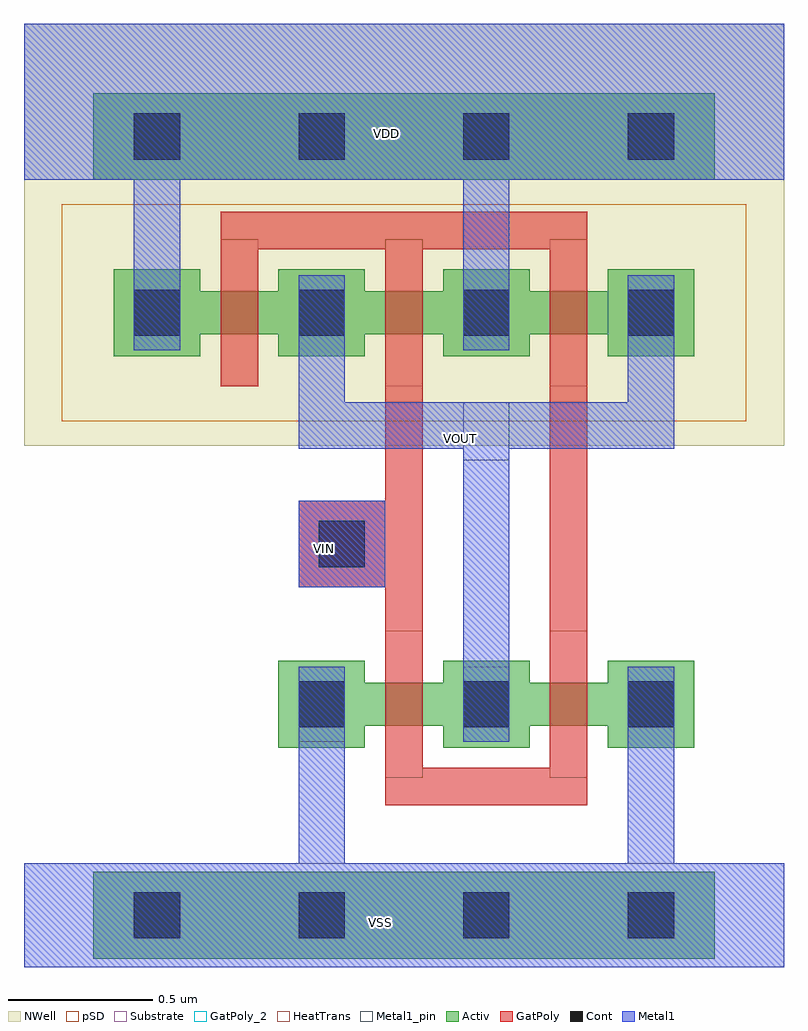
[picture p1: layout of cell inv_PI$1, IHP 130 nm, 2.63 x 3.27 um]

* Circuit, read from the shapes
.subckt inv_PI$1 VDD VIN VOUT VSS
XM1 VOUT VIN VSS VSS sg13_lv_nmos w=0.15u l=0.13u m=2
XM2 VOUT VIN VDD VDD sg13_lv_pmos w=0.15u l=0.13u m=3
.ends

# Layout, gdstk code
import gdstk
lib = gdstk.Library(unit=1e-6, precision=5e-09)
def R(c, l, rs):  # rectangles x0, y0, x1, y1
    for r in rs: c.add(gdstk.rectangle(r[:2], r[2:], *l))
def A(c, l, x, y, w, h, nx, ny, dx, dy):  # array of equal rectangles
    R(c, l, [(x+i*dx, y+j*dy, x+i*dx+w, y+j*dy+h) for i in range(nx) for j in range(ny)])
def P(c, l, *ps):  # polygons
    for p in ps: c.add(gdstk.Polygon(p, *l))
Activ = (1, 0)
GatPoly = (5, 0)
GatPoly_2 = (5, 2)
Cont = (6, 0)
Metal1 = (8, 0)
Metal1_pin = (8, 2)
pSD = (14, 0)
NWell = (31, 0)
Substrate = (40, 0)
HeatTrans = (51, 0)

nmos_8_14 = lib.new_cell('nmos$8$14')
A(nmos_8_14, Activ, 0, 0, 0.3, 0.3, 3, 1, 0.57, 0)
R(nmos_8_14, Activ, [(0,0.075,1.44,0.225)])
R(nmos_8_14, GatPoly, [(0.37,-0.105,0.5,0.405), (0.94,-0.105,1.07,0.405)])
R(nmos_8_14, GatPoly_2, [(0.37,-0.105,0.5,0.405)])
A(nmos_8_14, Cont, 0.07, 0.07, 0.16, 0.16, 3, 1, 0.57, 0)
A(nmos_8_14, Metal1, 0.07, 0.02, 0.16, 0.26, 3, 1, 0.57, 0)
R(nmos_8_14, Metal1_pin, [(0.07,0.02,0.23,0.28), (0.64,0.02,0.8,0.28)])
R(nmos_8_14, HeatTrans, [(0.37,-0.105,0.5,0.405), (0.94,-0.105,1.07,0.405)])
nmos_8_14.add(gdstk.Label('nmos', (0.435,0.15), layer=63, texttype=0))
nmos_8_14.add(gdstk.Label('nmos', (0.435,0.15), layer=51, texttype=0))
nmos_8_14.add(gdstk.Label('nmos', (1.005,0.15), layer=51, texttype=0))

pmos_1_2_3_1_1_1 = lib.new_cell('pmos$1$2$3$1$1$1')
A(pmos_1_2_3_1_1_1, Activ, 0, 0, 0.3, 0.3, 4, 1, 0.57, 0)
R(pmos_1_2_3_1_1_1, Activ, [(0,0.075,2.01,0.225)])
A(pmos_1_2_3_1_1_1, GatPoly, 0.37, -0.105, 0.13, 0.51, 3, 1, 0.57, 0)
R(pmos_1_2_3_1_1_1, GatPoly, [(0.37,-0.105,0.5,0.405)])
A(pmos_1_2_3_1_1_1, Cont, 0.07, 0.07, 0.16, 0.16, 4, 1, 0.57, 0)
A(pmos_1_2_3_1_1_1, Metal1, 0.64, 0.02, 0.16, 0.26, 3, 1, 0.57, 0)
R(pmos_1_2_3_1_1_1, Metal1, [(0.07,0.02,0.23,0.28), (0.07,0.02,0.23,0.28), (0.64,0.02,0.8,0.28)])
R(pmos_1_2_3_1_1_1, pSD, [(-0.18,-0.225,2.19,0.525)])
R(pmos_1_2_3_1_1_1, NWell, [(-0.31,-0.31,2.32,0.61)])
R(pmos_1_2_3_1_1_1, Substrate, [(1.71,0,2.01,0.3)])
A(pmos_1_2_3_1_1_1, HeatTrans, 0.37, -0.105, 0.13, 0.51, 3, 1, 0.57, 0)
pmos_1_2_3_1_1_1.add(gdstk.Label('pmos', (0.435,0.15), layer=63, texttype=0))
pmos_1_2_3_1_1_1.add(gdstk.Label('pmos', (0.435,0.15), layer=51, texttype=0))
pmos_1_2_3_1_1_1.add(gdstk.Label('pmos', (1.005,0.15), layer=51, texttype=0))
pmos_1_2_3_1_1_1.add(gdstk.Label('pmos', (1.575,0.15), layer=51, texttype=0))

inv_pi_1 = lib.new_cell('inv_PI$1')
R(inv_pi_1, Activ, [(2,1.95,4.15,2.25), (2,4.645,4.15,4.945)])
R(inv_pi_1, GatPoly, [(3.01,2.48,3.71,2.61)])
P(inv_pi_1, GatPoly, [(3.01,2.655),(3.01,3.235),(2.71,3.235),(2.71,3.535),(3.01,3.535),(3.01,4.405),(2.57,4.405),(2.57,3.93),(2.44,3.93),(2.44,4.535),(3.71,4.535),(3.71,2.655),(3.58,2.655),(3.58,4.405),(3.14,4.405),(3.14,2.655)])
A(inv_pi_1, Cont, 2.14, 2.02, 0.16, 0.16, 4, 2, 0.57, 2.695)
R(inv_pi_1, Cont, [(2.78,3.305,2.94,3.465)])
R(inv_pi_1, Metal1, [(2.71,3.235,3.01,3.535)])
P(inv_pi_1, Metal1, [(1.76,1.92),(1.76,2.28),(2.71,2.28),(2.71,2.96),(2.87,2.96),(2.87,2.28),(3.85,2.28),(3.85,2.96),(4.01,2.96),(4.01,2.28),(4.39,2.28),(4.39,1.92)],
  [(3.28,2.7),(3.28,3.715),(2.71,3.715),(2.71,4.315),(2.87,4.315),(2.87,3.875),(3.85,3.875),(3.85,4.315),(4.01,4.315),(4.01,3.715),(3.44,3.715),(3.44,2.7)],
  [(2.14,4.105),(2.14,4.645),(1.76,4.645),(1.76,5.185),(4.39,5.185),(4.39,4.645),(3.44,4.645),(3.44,4.105),(3.28,4.105),(3.28,4.645),(2.3,4.645),(2.3,4.105)])
R(inv_pi_1, Metal1_pin, [(1.76,1.92,4.39,2.28), (2.71,3.235,3.01,3.535), (3.28,3.675,3.44,3.875), (1.76,4.645,4.39,5.185)])
R(inv_pi_1, pSD, [(1.76,1.92,4.39,2.28)])
R(inv_pi_1, NWell, [(1.76,4.645,4.39,5.185)])
inv_pi_1.add(gdstk.Reference(nmos_8_14, (2.64,2.68)))
inv_pi_1.add(gdstk.Reference(pmos_1_2_3_1_1_1, (2.07,4.035)))
inv_pi_1.add(gdstk.Label('VDD', (3.015,4.805), layer=8, texttype=25))
inv_pi_1.add(gdstk.Label('VOUT', (3.27,3.75), layer=8, texttype=25))
inv_pi_1.add(gdstk.Label('VIN', (2.8,3.37), layer=8, texttype=25))
inv_pi_1.add(gdstk.Label('VSS', (2.995,2.075), layer=8, texttype=25))

lib.write_gds('inv_PI_1.gds')
